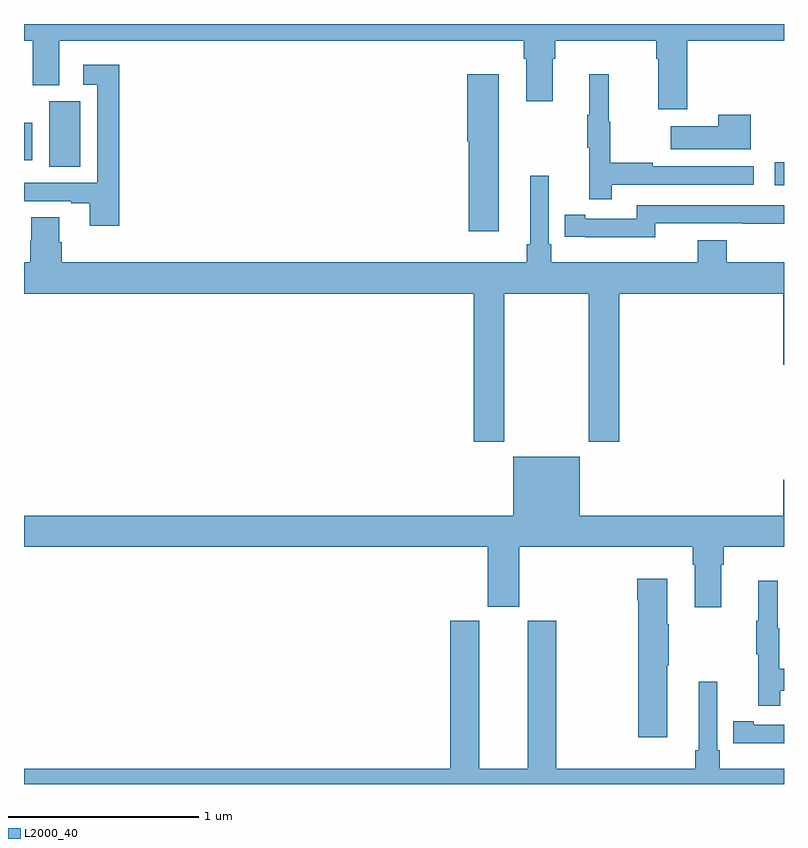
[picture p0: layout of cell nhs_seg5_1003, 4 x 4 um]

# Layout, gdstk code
import gdstk
lib = gdstk.Library(unit=1e-6, precision=1e-09)
def R(c, l, rs):  # rectangles x0, y0, x1, y1
    for r in rs: c.add(gdstk.rectangle(r[:2], r[2:], *l))
def P(c, l, *ps):  # polygons
    for p in ps: c.add(gdstk.Polygon(p, *l))
L2000_40 = (2000, 40)

nhs_seg5_1003 = lib.new_cell('nhs_seg5_1003')
R(nhs_seg5_1003, L2000_40, [(176.952,903.951,177,904.071), (173.132,904.048,173.296,904.392), (173,904.083,173.044,904.279)])
P(nhs_seg5_1003, L2000_40, [(176.492,904.712),(177,904.712),(177,904.799),(173,904.799),(173,904.712),(173.045,904.712),(173.045,904.477),(173.185,904.477),(173.185,904.712),(175.631,904.712),(175.631,904.616),(175.643,904.616),(175.643,904.392),(175.783,904.392),(175.783,904.616),(175.796,904.616),(175.796,904.712),(176.327,904.712),(176.327,904.616),(176.339,904.616),(176.339,904.35),(176.492,904.35)],
  [(173.501,904.585),(173.313,904.585),(173.313,904.479),(173.385,904.479),(173.385,903.963),(173,903.963),(173,903.867),(173.249,903.867),(173.249,903.855),(173.345,903.855),(173.345,903.738),(173.501,903.738)],
  [(175.498,904.534),(175.334,904.534),(175.334,904.182),(175.34,904.182),(175.34,903.708),(175.498,903.708)],
  [(176.093,903.954),(176.842,903.954),(176.842,904.05),(176.309,904.05),(176.309,904.07),(176.086,904.07),(176.086,904.284),(176.078,904.284),(176.078,904.534),(175.976,904.534),(175.976,904.321),(175.965,904.321),(175.965,904.147),(175.976,904.147),(175.976,903.876),(176.093,903.876)],
  [(176.824,904.321),(176.654,904.321),(176.654,904.261),(176.405,904.261),(176.405,904.139),(176.824,904.139)],
  [(176.996,903.006),(177,903.006),(177,903.544),(176.699,903.544),(176.699,903.661),(176.546,903.661),(176.546,903.544),(175.775,903.544),(175.775,903.64),(175.761,903.64),(175.761,904),(175.664,904),(175.664,903.64),(175.645,903.64),(175.645,903.544),(173.198,903.544),(173.198,903.65),(173.185,903.65),(173.185,903.782),(173.038,903.782),(173.038,903.657),(173.033,903.657),(173.033,903.544),(173,903.544),(173,903.38),(175.367,903.38),(175.367,902.601),(175.527,902.601),(175.527,903.38),(175.972,903.38),(175.972,902.601),(176.132,902.601),(176.132,903.38),(176.996,903.38)],
  [(176.322,903.75),(176.782,903.75),(176.782,903.749),(177,903.749),(177,903.846),(176.226,903.846),(176.226,903.774),(175.954,903.774),(175.954,903.794),(175.846,903.794),(175.846,903.678),(175.954,903.678),(175.954,903.677),(176.322,903.677)],
  [(176.671,901.952),(176.684,901.952),(176.684,902.048),(177,902.048),(177,902.401),(176.996,902.401),(176.996,902.212),(175.924,902.212),(175.924,902.521),(175.574,902.521),(175.574,902.212),(173,902.212),(173,902.048),(175.442,902.048),(175.442,901.731),(175.606,901.731),(175.606,902.048),(176.519,902.048),(176.519,901.952),(176.531,901.952),(176.531,901.728),(176.671,901.728)],
  [(176.386,901.423),(176.394,901.423),(176.394,901.64),(176.386,901.64),(176.386,901.879),(176.228,901.879),(176.228,901.766),(176.233,901.766),(176.233,901.044),(176.386,901.044)],
  [(176.981,901.29),(177,901.29),(177,901.406),(176.974,901.406),(176.974,901.62),(176.966,901.62),(176.966,901.87),(176.864,901.87),(176.864,901.657),(176.853,901.657),(176.853,901.483),(176.864,901.483),(176.864,901.212),(176.981,901.212)],
  [(177,900.88),(176.663,900.88),(176.663,900.976),(176.649,900.976),(176.649,901.336),(176.552,901.336),(176.552,900.976),(176.533,900.976),(176.533,900.88),(175.8,900.88),(175.8,901.659),(175.652,901.659),(175.652,900.88),(175.396,900.88),(175.396,901.659),(175.244,901.659),(175.244,900.88),(173,900.88),(173,900.799),(177,900.799)],
  [(177,901.11),(176.842,901.11),(176.842,901.13),(176.734,901.13),(176.734,901.014),(176.842,901.014),(176.842,901.013),(177,901.013)])

lib.write_gds('nhs_seg5_1003.gds')
